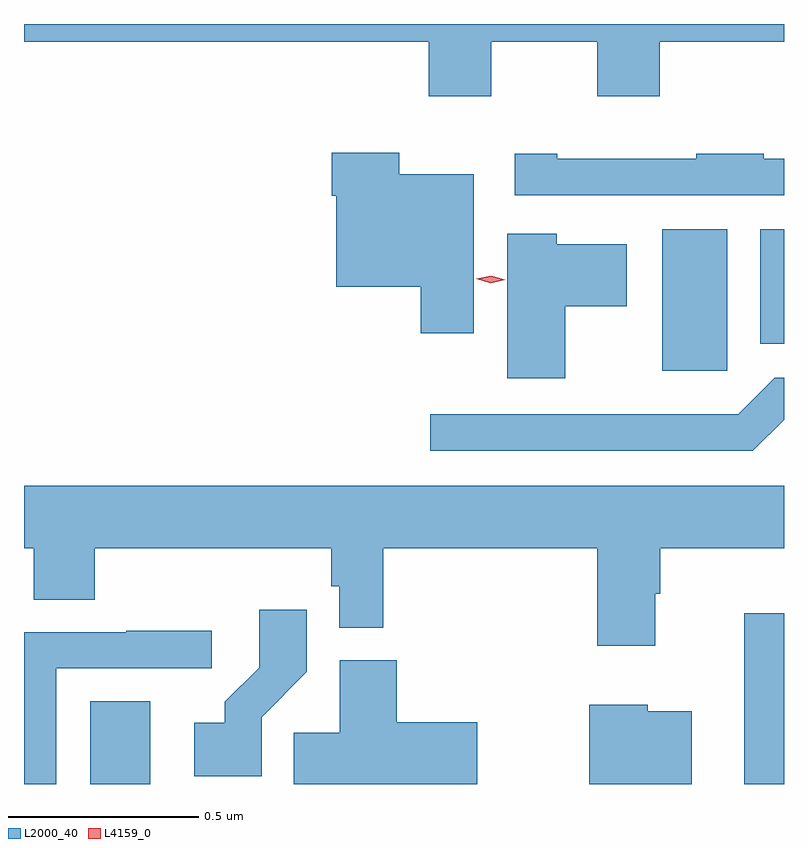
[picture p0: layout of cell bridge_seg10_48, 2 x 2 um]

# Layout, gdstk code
import gdstk
lib = gdstk.Library(unit=1e-6, precision=1e-09)
def R(c, l, rs):  # rectangles x0, y0, x1, y1
    for r in rs: c.add(gdstk.rectangle(r[:2], r[2:], *l))
def P(c, l, *ps):  # polygons
    for p in ps: c.add(gdstk.Polygon(p, *l))
L2000_40 = (2000, 40)
L4159_0 = (4159, 0)

bridge_seg10_48 = lib.new_cell('bridge_seg10_48')
R(bridge_seg10_48, L2000_40, [(880.646,1293.035,880.804,1293.253), (882.368,1293.035,882.472,1293.484), (882.152,1294.122,882.322,1294.495), (882.41,1294.193,882.472,1294.495)])
P(bridge_seg10_48, L2000_40, [(881.701,1294.988),(881.981,1294.988),(881.981,1294.845),(882.145,1294.845),(882.145,1294.988),(882.472,1294.988),(882.472,1295.035),(880.472,1295.035),(880.472,1294.988),(881.537,1294.988),(881.537,1294.845),(881.701,1294.845)],
  [(881.656,1294.639),(881.46,1294.639),(881.46,1294.696),(881.282,1294.696),(881.282,1294.583),(881.294,1294.583),(881.294,1294.343),(881.516,1294.343),(881.516,1294.221),(881.656,1294.221)],
  [(882.472,1294.681),(882.419,1294.681),(882.419,1294.693),(882.241,1294.693),(882.241,1294.681),(881.875,1294.681),(881.875,1294.693),(881.763,1294.693),(881.763,1294.584),(882.472,1294.584)],
  [(881.896,1294.292),(882.058,1294.292),(882.058,1294.456),(881.874,1294.456),(881.874,1294.483),(881.744,1294.483),(881.744,1294.103),(881.896,1294.103)],
  [(882.472,1293.994),(882.472,1294.104),(882.447,1294.104),(882.351,1294.008),(881.541,1294.008),(881.541,1293.912),(882.39,1293.912)],
  [(882.133,1293.536),(882.146,1293.536),(882.146,1293.656),(882.472,1293.656),(882.472,1293.82),(880.472,1293.82),(880.472,1293.656),(880.498,1293.656),(880.498,1293.52),(880.658,1293.52),(880.658,1293.656),(881.281,1293.656),(881.281,1293.555),(881.301,1293.555),(881.301,1293.446),(881.417,1293.446),(881.417,1293.656),(881.981,1293.656),(881.981,1293.399),(882.133,1293.399)],
  [(881.097,1293.211),(881.216,1293.33),(881.216,1293.493),(881.091,1293.493),(881.091,1293.341),(881,1293.251),(881,1293.196),(880.92,1293.196),(880.92,1293.056),(881.097,1293.056)],
  [(880.557,1293.339),(880.966,1293.339),(880.966,1293.438),(880.741,1293.438),(880.741,1293.435),(880.472,1293.435),(880.472,1293.035),(880.557,1293.035)],
  [(881.665,1293.198),(881.453,1293.198),(881.453,1293.361),(881.303,1293.361),(881.303,1293.17),(881.182,1293.17),(881.182,1293.035),(881.665,1293.035)],
  [(882.229,1293.226),(882.114,1293.226),(882.114,1293.244),(881.96,1293.244),(881.96,1293.035),(882.229,1293.035)])
P(bridge_seg10_48, L4159_0, [(881.7,1294.353),(881.662,1294.364),(881.662,1294.364),(881.662,1294.364),(881.701,1294.373),(881.739,1294.362),(881.739,1294.362),(881.739,1294.362)])

lib.write_gds('bridge_seg10_48.gds')
